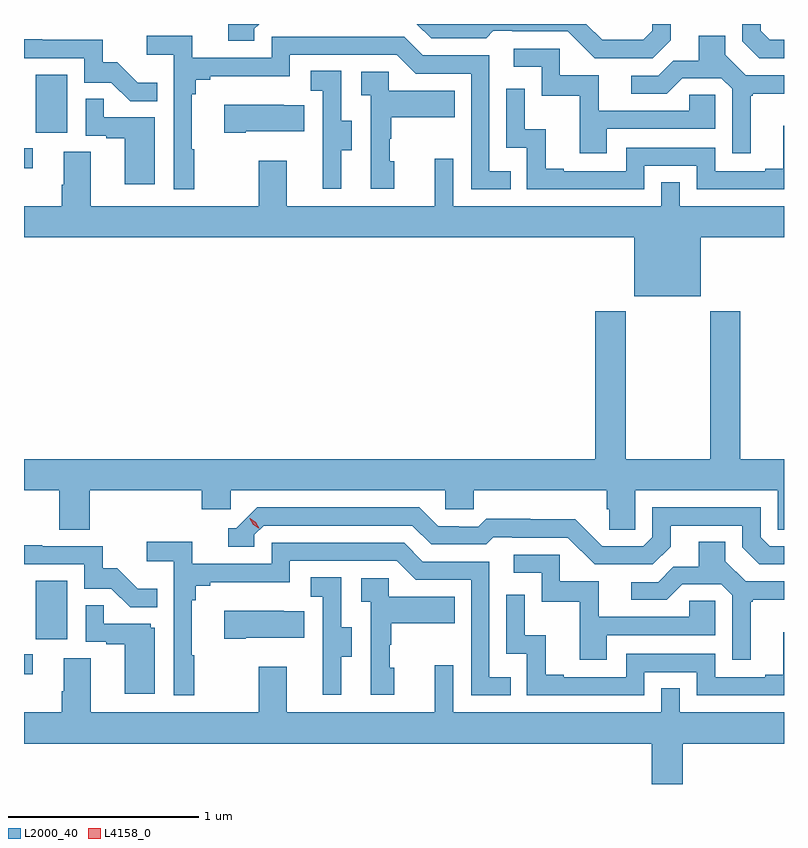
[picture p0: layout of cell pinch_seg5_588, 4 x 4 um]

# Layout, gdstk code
import gdstk
lib = gdstk.Library(unit=1e-6, precision=1e-09)
def R(c, l, rs):  # rectangles x0, y0, x1, y1
    for r in rs: c.add(gdstk.rectangle(r[:2], r[2:], *l))
def P(c, l, *ps):  # polygons
    for p in ps: c.add(gdstk.Polygon(p, *l))
L2000_40 = (2000, 40)
L4158_0 = (4158, 0)

pinch_seg5_588 = lib.new_cell('pinch_seg5_588')
R(pinch_seg5_588, L2000_40, [(1119.635,857.124,1119.682,857.229), (1119.698,857.31,1119.862,857.617), (1119.635,859.788,1119.682,859.893), (1119.698,859.974,1119.862,860.281)])
P(pinch_seg5_588, L2000_40, [(1123.635,860.463),(1123.56,860.463),(1123.512,860.511),(1123.512,860.547),(1123.416,860.547),(1123.416,860.457),(1123.506,860.367),(1123.635,860.367)],
  [(1123.039,860.461),(1123.039,860.547),(1122.942,860.547),(1122.942,860.511),(1122.894,860.463),(1122.678,860.463),(1122.594,860.547),(1121.703,860.547),(1121.778,860.472),(1122.067,860.472),(1122.106,860.511),(1122.205,860.511),(1122.205,860.508),(1122.498,860.508),(1122.639,860.367),(1122.945,860.367)],
  [(1120.848,860.523),(1120.872,860.547),(1120.709,860.547),(1120.709,860.46),(1120.848,860.46)],
  [(1120.531,859.889),(1120.519,859.889),(1120.519,860.177),(1120.538,860.177),(1120.538,860.254),(1120.615,860.254),(1120.615,860.273),(1121.034,860.273),(1121.034,860.385),(1121.598,860.385),(1121.697,860.286),(1121.988,860.286),(1121.988,859.677),(1122.197,859.677),(1122.197,859.773),(1122.084,859.773),(1122.084,860.382),(1121.734,860.382),(1121.635,860.481),(1120.938,860.481),(1120.938,860.37),(1120.52,860.37),(1120.52,860.486),(1120.281,860.486),(1120.281,860.384),(1120.422,860.384),(1120.422,859.677),(1120.531,859.677)],
  [(1123.459,860.169),(1123.471,860.169),(1123.471,860.18),(1123.635,860.18),(1123.635,860.277),(1123.434,860.277),(1123.327,860.384),(1123.327,860.486),(1123.187,860.486),(1123.187,860.354),(1123.052,860.354),(1122.972,860.274),(1122.831,860.274),(1122.831,860.181),(1123.018,860.181),(1123.099,860.262),(1123.305,860.262),(1123.362,860.205),(1123.362,859.866),(1123.459,859.866)],
  [(1120.337,860.239),(1120.233,860.239),(1120.126,860.346),(1120.05,860.346),(1120.05,860.463),(1119.731,860.463),(1119.731,860.468),(1119.635,860.468),(1119.635,860.367),(1119.951,860.367),(1119.951,860.238),(1120.095,860.238),(1120.193,860.14),(1120.337,860.14)],
  [(1122.703,859.995),(1123.272,859.995),(1123.272,860.175),(1123.135,860.175),(1123.135,860.091),(1122.661,860.091),(1122.661,860.277),(1122.456,860.277),(1122.456,860.418),(1122.213,860.418),(1122.213,860.322),(1122.36,860.322),(1122.36,860.169),(1122.559,860.169),(1122.559,859.866),(1122.703,859.866)],
  [(1121.305,859.882),(1121.359,859.882),(1121.359,860.037),(1121.304,860.037),(1121.304,860.3),(1121.145,860.3),(1121.145,860.197),(1121.208,860.197),(1121.208,859.893),(1121.207,859.893),(1121.207,859.68),(1121.305,859.68)],
  [(1121.584,859.824),(1121.559,859.824),(1121.559,859.943),(1121.569,859.943),(1121.569,860.057),(1121.903,860.057),(1121.903,860.197),(1121.556,860.197),(1121.556,860.295),(1121.409,860.295),(1121.409,860.171),(1121.46,860.171),(1121.46,859.68),(1121.584,859.68)],
  [(1122.9,859.8),(1123.176,859.8),(1123.176,859.677),(1123.635,859.677),(1123.635,860.011),(1123.631,860.011),(1123.631,859.786),(1123.535,859.786),(1123.535,859.773),(1123.272,859.773),(1123.272,859.896),(1122.804,859.896),(1122.804,859.773),(1122.475,859.773),(1122.475,859.786),(1122.38,859.786),(1122.38,859.994),(1122.27,859.994),(1122.27,860.206),(1122.174,860.206),(1122.174,859.896),(1122.282,859.896),(1122.282,859.677),(1122.9,859.677)],
  [(1120.324,860.055),(1120.055,860.055),(1120.055,860.153),(1119.96,860.153),(1119.96,859.959),(1120.067,859.959),(1120.067,859.947),(1120.166,859.947),(1120.166,859.704),(1120.324,859.704)],
  [(1120.801,859.982),(1121.111,859.982),(1121.111,860.119),(1121.003,860.119),(1121.003,860.122),(1120.689,860.122),(1120.689,859.975),(1120.801,859.975)],
  [(1123.198,859.424),(1123.635,859.424),(1123.635,859.588),(1123.086,859.588),(1123.086,859.715),(1122.99,859.715),(1122.99,859.588),(1121.895,859.588),(1121.895,859.837),(1121.798,859.837),(1121.798,859.588),(1121.017,859.588),(1121.017,859.828),(1120.87,859.828),(1120.87,859.588),(1119.985,859.588),(1119.985,859.874),(1119.845,859.874),(1119.845,859.7),(1119.833,859.7),(1119.833,859.588),(1119.635,859.588),(1119.635,859.424),(1122.848,859.424),(1122.848,859.115),(1123.198,859.115)],
  [(1119.98,858.092),(1120.571,858.092),(1120.571,857.994),(1120.722,857.994),(1120.722,858.092),(1121.853,858.092),(1121.853,857.994),(1122.003,857.994),(1122.003,858.092),(1122.701,858.092),(1122.701,857.994),(1122.715,857.994),(1122.715,857.884),(1122.852,857.884),(1122.852,858.092),(1123.602,858.092),(1123.602,857.884),(1123.635,857.884),(1123.635,858.256),(1123.406,858.256),(1123.406,859.036),(1123.246,859.036),(1123.246,858.256),(1122.801,858.256),(1122.801,859.036),(1122.641,859.036),(1122.641,858.256),(1119.635,858.256),(1119.635,858.092),(1119.82,858.092),(1119.82,857.884),(1119.98,857.884)],
  [(1123.039,857.797),(1123.039,857.907),(1123.416,857.907),(1123.416,857.793),(1123.506,857.703),(1123.635,857.703),(1123.635,857.799),(1123.56,857.799),(1123.512,857.847),(1123.512,858.003),(1122.942,858.003),(1122.942,857.847),(1122.894,857.799),(1122.678,857.799),(1122.536,857.941),(1122.3,857.941),(1122.3,857.944),(1122.067,857.944),(1122.025,857.901),(1121.922,857.901),(1121.922,857.904),(1121.815,857.904),(1121.716,858.003),(1120.863,858.003),(1120.752,857.892),(1120.709,857.892),(1120.709,857.796),(1120.848,857.796),(1120.848,857.859),(1120.896,857.907),(1121.679,857.907),(1121.778,857.808),(1122.067,857.808),(1122.106,857.847),(1122.205,857.847),(1122.205,857.844),(1122.498,857.844),(1122.639,857.703),(1122.945,857.703)],
  [(1123.459,857.505),(1123.471,857.505),(1123.471,857.516),(1123.635,857.516),(1123.635,857.613),(1123.434,857.613),(1123.327,857.72),(1123.327,857.822),(1123.187,857.822),(1123.187,857.69),(1123.052,857.69),(1122.972,857.61),(1122.831,857.61),(1122.831,857.517),(1123.018,857.517),(1123.099,857.598),(1123.305,857.598),(1123.362,857.541),(1123.362,857.202),(1123.459,857.202)],
  [(1120.531,857.225),(1120.519,857.225),(1120.519,857.513),(1120.538,857.513),(1120.538,857.59),(1120.615,857.59),(1120.615,857.609),(1121.034,857.609),(1121.034,857.721),(1121.598,857.721),(1121.697,857.622),(1121.988,857.622),(1121.988,857.013),(1122.197,857.013),(1122.197,857.109),(1122.084,857.109),(1122.084,857.718),(1121.734,857.718),(1121.635,857.817),(1120.938,857.817),(1120.938,857.706),(1120.52,857.706),(1120.52,857.822),(1120.281,857.822),(1120.281,857.72),(1120.422,857.72),(1120.422,857.013),(1120.531,857.013)],
  [(1120.337,857.575),(1120.233,857.575),(1120.126,857.682),(1120.05,857.682),(1120.05,857.799),(1119.731,857.799),(1119.731,857.804),(1119.635,857.804),(1119.635,857.703),(1119.951,857.703),(1119.951,857.574),(1120.095,857.574),(1120.193,857.476),(1120.337,857.476)],
  [(1122.703,857.331),(1123.272,857.331),(1123.272,857.511),(1123.135,857.511),(1123.135,857.427),(1122.661,857.427),(1122.661,857.613),(1122.456,857.613),(1122.456,857.754),(1122.213,857.754),(1122.213,857.658),(1122.36,857.658),(1122.36,857.505),(1122.559,857.505),(1122.559,857.202),(1122.703,857.202)],
  [(1121.305,857.218),(1121.359,857.218),(1121.359,857.373),(1121.304,857.373),(1121.304,857.636),(1121.145,857.636),(1121.145,857.533),(1121.208,857.533),(1121.208,857.229),(1121.207,857.229),(1121.207,857.016),(1121.305,857.016)],
  [(1121.584,857.16),(1121.559,857.16),(1121.559,857.279),(1121.569,857.279),(1121.569,857.393),(1121.903,857.393),(1121.903,857.533),(1121.556,857.533),(1121.556,857.631),(1121.409,857.631),(1121.409,857.507),(1121.46,857.507),(1121.46,857.016),(1121.584,857.016)],
  [(1122.9,857.136),(1123.176,857.136),(1123.176,857.013),(1123.635,857.013),(1123.635,857.347),(1123.631,857.347),(1123.631,857.122),(1123.535,857.122),(1123.535,857.109),(1123.272,857.109),(1123.272,857.232),(1122.804,857.232),(1122.804,857.109),(1122.475,857.109),(1122.475,857.122),(1122.38,857.122),(1122.38,857.33),(1122.27,857.33),(1122.27,857.542),(1122.174,857.542),(1122.174,857.232),(1122.282,857.232),(1122.282,857.013),(1122.9,857.013)],
  [(1120.324,857.37),(1120.302,857.37),(1120.302,857.391),(1120.055,857.391),(1120.055,857.489),(1119.96,857.489),(1119.96,857.295),(1120.067,857.295),(1120.067,857.283),(1120.166,857.283),(1120.166,857.022),(1120.324,857.022)],
  [(1120.801,857.318),(1121.111,857.318),(1121.111,857.455),(1121.003,857.455),(1121.003,857.458),(1120.689,857.458),(1120.689,857.311),(1120.801,857.311)],
  [(1123.102,856.76),(1123.635,856.76),(1123.635,856.924),(1123.086,856.924),(1123.086,857.051),(1122.99,857.051),(1122.99,856.924),(1121.895,856.924),(1121.895,857.173),(1121.798,857.173),(1121.798,856.924),(1121.017,856.924),(1121.017,857.164),(1120.87,857.164),(1120.87,856.924),(1119.985,856.924),(1119.985,857.21),(1119.845,857.21),(1119.845,857.036),(1119.833,857.036),(1119.833,856.924),(1119.635,856.924),(1119.635,856.76),(1122.938,856.76),(1122.938,856.547),(1123.102,856.547)])
P(pinch_seg5_588, L4158_0, [(1120.871,857.893),(1120.841,857.912),(1120.824,857.944),(1120.824,857.945),(1120.825,857.945),(1120.855,857.925),(1120.872,857.893),(1120.872,857.893)])

lib.write_gds('pinch_seg5_588.gds')
